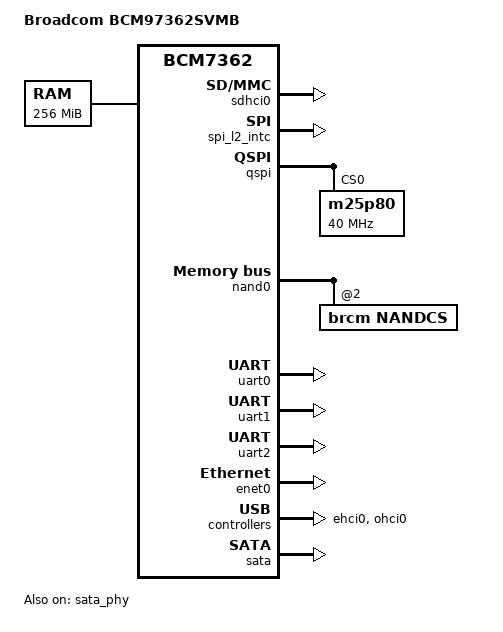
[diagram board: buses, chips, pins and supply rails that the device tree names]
/dts-v1/;

/include/ "bcm7362.dtsi"

/ {
	compatible = "brcm,bcm97362svmb", "brcm,bcm7362";
	model = "Broadcom BCM97362SVMB";

	memory@0 {
		device_type = "memory";
		reg = <0x00000000 0x10000000>;
	};

	chosen {
		bootargs = "console=ttyS0,115200";
		stdout-path = &uart0;
	};

	timer {
		compatible = "brcm,brcmstb-timer";
		reg = <0x10406680 0x28>;
	};

	rdb {
		upg_irq0_intc: upg_irq0_intc@406600 {
			compatible = "brcm,bcm7120-l2-intc";
			reg = <0x406600 0x8>;

			brcm,int-map-mask = <0x44>;
			brcm,int-fwd-mask = <0x70000>;

			interrupt-controller;
			#interrupt-cells = <1>;

			interrupt-parent = <&periph_intc>;
			interrupts = <56>;
			interrupt-names = "upg_main";
		};

		upg_aon_irq0_intc: upg_aon_irq0_intc@408b80 {
			compatible = "brcm,bcm7120-l2-intc";
			reg = <0x408b80 0x8>;

			brcm,int-map-mask = <0x40>;
			brcm,int-fwd-mask = <0>;
			brcm,irq-can-wake;

			interrupt-controller;
			#interrupt-cells = <1>;

			interrupt-parent = <&periph_intc>;
			interrupts = <57>;
			interrupt-names = "upg_main_aon";
		};

		sdhci0: sdhci@410000 {
			compatible = "brcm,bcm7425-sdhci";
			reg = <0x410000 0x100>;
			interrupt-parent = <&periph_intc>;
			interrupts = <82>;
			status = "disabled";
		};

		spi_l2_intc: spi_l2_intc@411d00 {
			compatible = "brcm,l2-intc";
			reg = <0x411d00 0x30>;
			interrupt-controller;
			#interrupt-cells = <1>;
			interrupt-parent = <&periph_intc>;
			interrupts = <31>;
		};

		qspi: spi@413000 {
			#address-cells = <0x1>;
			#size-cells = <0x0>;
			compatible = "brcm,qspi-brcmstb";
			reg = <0x410920 0x4 0x413200 0x188 0x413000 0x50>;
			reg-names = "cs_reg", "hif_mspi", "bspi";
			interrupts = <0x6 0x5 0x4 0x3 0x2 0x1 0x0>;
			interrupt-parent = <&spi_l2_intc>;
			interrupt-names = "mspi_halted",
				"mspi_done",
				"spi_lr_overread",
				"spi_lr_session_done",
				"spi_lr_impatient",
				"spi_lr_session_aborted",
				"spi_lr_fullness_reached";
			status = "disabled";
		};

		hif_l2_intc: hif_l2_intc@411000 {
			compatible = "brcm,l2-intc";
			reg = <0x411000 0x30>;
			interrupt-controller;
			#interrupt-cells = <1>;
			interrupt-parent = <&periph_intc>;
			interrupts = <30>;
		};

		nand0: nand@412800 {
			compatible = "brcm,brcmnand-v5.0", "brcm,brcmnand";
			#address-cells = <1>;
			#size-cells = <0>;
			reg-names = "nand";
			reg = <0x412800 0x400>;
			interrupt-parent = <&hif_l2_intc>;
			interrupt-names = "nand_ctlrdy";
			interrupts = <24>;
			status = "disabled";
		};
	};
};

&uart0 {
	status = "okay";
};

&uart1 {
	status = "okay";
};

&uart2 {
	status = "okay";
};

&enet0 {
	status = "okay";
};

&ehci0 {
	status = "okay";
};

&ohci0 {
	status = "okay";
};

&sata {
	status = "okay";
};

&sata_phy {
	status = "okay";
};

&sdhci0 {
	status = "okay";
};

&qspi {
	status = "okay";

	m25p80@0 {
		#size-cells = <0x2>;
		#address-cells = <0x2>;
		compatible = "m25p80";
		reg = <0>;
		spi-max-frequency = <0x2625a00>;
		spi-cpol;
		spi-cpha;
		use-bspi;
		m25p,fast-read;

		flash0.cfe@0 {
			label = "cfe";
			reg = <0x0 0x0 0x0 0xa0000>;
		};

		flash0.nvram@a0000 {
			label = "nvram";
			reg = <0x0 0xa0000 0x0 0x10000>;
		};

		flash0.mac@b0000 {
			label = "mac";
			reg = <0x0 0xb0000 0x0 0x10000>;
		};
	};
};

&nand0 {
	status = "okay";

	nandcs@2 {
		compatible = "brcm,nandcs";
		reg = <2>;
		nand-ecc-step-size = <512>;
		nand-ecc-strength = <4>;
		nand-on-flash-bbt;

		#size-cells = <0x2>;
		#address-cells = <0x2>;

		flash1.kernel@0 {
			label = "kernel";
			reg = <0x0 0x0 0x0 0x800000>;
		};

		flash1.splash@800000 {
			label = "splash";
			reg = <0x0 0x800000 0x0 0x400000>;
		};

		flash1.rootfs@c00000 {
			label = "rootfs";
			reg = <0x0 0xc00000 0x0 0x1f200000>;
		};
	};
};
